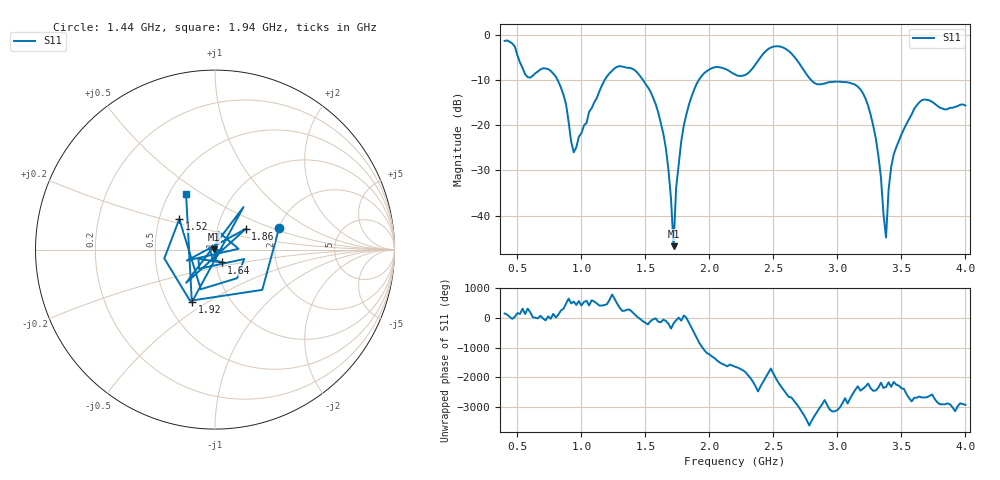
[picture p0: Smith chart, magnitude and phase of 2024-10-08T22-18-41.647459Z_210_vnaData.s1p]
! Created with skrf (http://scikit-rf.org).
# Hz S RI R 50.0
!freq ReS11 ImS11
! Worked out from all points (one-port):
!   181 points, 400 MHz to 4 GHz, reference 50 ohm
!   lowest |S11| = -46.7 dB at 1.72 GHz (marker M1), VSWR 1.01, Z = 49.5 + j0.0774 ohm
!   |S11| at or under -10 dB: 813.2 MHz to 1.183 GHz (369.4 MHz wide, 37 % of centre); 1.481 GHz to 1.918 GHz (437.3 MHz wide, 25.7 % of centre); 2.794 GHz to end of sweep
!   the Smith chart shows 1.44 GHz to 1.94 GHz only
!   S11 on the Smith chart (normalised r, x): 1.44 GHz: 2.01, +0.55; 1.52 GHz: 0.64, +0.23; 1.64 GHz: 1.07, -0.15; 1.86 GHz: 1.37, +0.33; 1.92 GHz: 0.66, -0.43; 1.94 GHz: 0.61, +0.43
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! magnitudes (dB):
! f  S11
! 400 MHz  -1.4
! 580 MHz  -9.4
! 740 MHz  -7.6
! 860 MHz  -13.3
! 940 MHz  -26.0
! 1.3 GHz  -7.0
! 1.44 GHz  -8.5
! 1.52 GHz  -11.7
! 1.64 GHz  -21.9
! 1.68 GHz  -29.8
! 1.72 GHz  -46.7
! 1.74 GHz  -33.9
! 1.76 GHz  -28.7
! 1.86 GHz  -13.7
! 1.92 GHz  -9.9
! 1.94 GHz  -9.1
! 2.2 GHz  -8.8
! 2.5 GHz  -2.7
! 2.66 GHz  -4.8
! 2.84 GHz  -10.9
! 3.1 GHz  -10.7
! 3.28 GHz  -20.2
! 3.34 GHz  -31.5
! 3.38 GHz  -44.8
! 3.42 GHz  -29.2
! 3.56 GHz  -18.7
! 3.68 GHz  -14.3
! 4 GHz  -15.7
